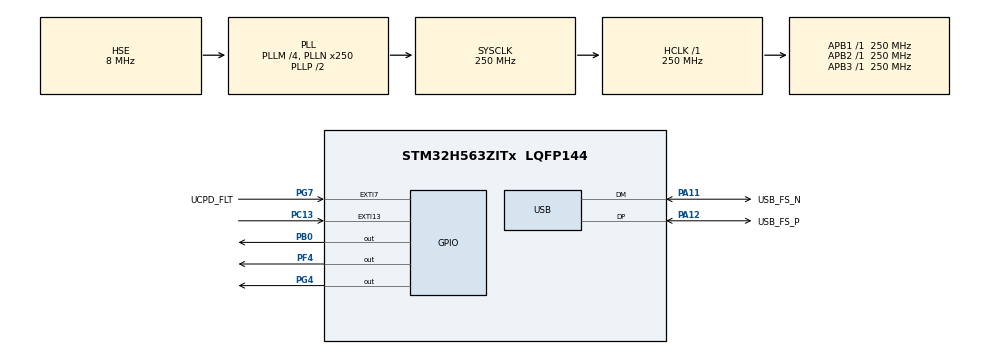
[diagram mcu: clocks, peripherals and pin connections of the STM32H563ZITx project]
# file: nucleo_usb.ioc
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BOOTPATH.BootPathName=LEGACY
BOOTPATH.UserSelectedBootPath=LEGACY
CORTEX_M33_NS.userName=CORTEX_M33
Mcu.Family=STM32H5
Mcu.Name=STM32H563ZITx
Mcu.Package=LQFP144
NUCLEO-H563ZI.BUTTON=1
NUCLEO-H563ZI.Bsp_Common_DEMO=true
NUCLEO-H563ZI.LD1=true
NUCLEO-H563ZI.LD2=true
NUCLEO-H563ZI.LD3=true
NUCLEO-H563ZI.VCP=true
NVIC.EXTI13_IRQn=true\:0\:0\:false\:false\:true\:false\:true\:true
NVIC.PriorityGroup=NVIC_PRIORITYGROUP_4
NVIC.USB_DRD_FS_IRQn=true\:0\:0\:false\:false\:true\:true\:true\:true
PA1.GPIO_Label=RMII_REF_CLK
PA1.GPIO_Mode=GPIO_MODE_AF_PP
PA1.GPIO_PuPd=GPIO_NOPULL
PA1.GPIO_Speed=GPIO_SPEED_FREQ_LOW
PA1.Signal=ETH_REF_CLK
PA11.GPIO_Label=USB_FS_N
PA11.Mode=Device
PA11.Signal=USB_DM
PA12.GPIO_Label=USB_FS_P
PA12.Mode=Device
PA12.Signal=USB_DP
PA13(JTMS/SWDIO).GPIO_Label=SWDIO
PA13(JTMS/SWDIO).Signal=DEBUG_JTMS-SWDIO
PA14(JTCK/SWCLK).GPIO_Label=SWCLK
PA14(JTCK/SWCLK).Signal=DEBUG_JTCK-SWCLK
PA15(JTDI).GPIO_Label=T_JTDI
PA15(JTDI).Signal=DEBUG_JTDI
PA2.GPIO_Label=RMII_MDIO
PA2.GPIO_Mode=GPIO_MODE_AF_PP
PA2.GPIO_PuPd=GPIO_NOPULL
PA2.GPIO_Speed=GPIO_SPEED_FREQ_LOW
PA2.Signal=ETH_MDIO
PA4.GPIO_Label=VBUS_SENSE
PA4.Signal=ADCx_INP18
PA7.GPIO_Label=RMII_CRS_DV
PA7.GPIO_Mode=GPIO_MODE_AF_PP
PA7.GPIO_PuPd=GPIO_NOPULL
PA7.GPIO_Speed=GPIO_SPEED_FREQ_LOW
PA7.Signal=ETH_CRS_DV
PA9.GPIO_Label=UCDP_DBn
PA9.Signal=UCPD1_DB1
PB0.Signal=GPIO_Output
PB13.GPIO_Label=UCPD_CC1
PB13.Signal=UCPD1_CC1
PB14.GPIO_Label=UCPD_CC2
PB14.Signal=UCPD1_CC2
PB15.GPIO_Label=RMII_TXD1
PB15.GPIO_Mode=GPIO_MODE_AF_PP
PB15.GPIO_PuPd=GPIO_NOPULL
PB15.GPIO_Speed=GPIO_SPEED_FREQ_LOW
PB15.Signal=ETH_TXD1
PB3(JTDO/TRACESWO).GPIO_Label=SWO
PB3(JTDO/TRACESWO).Signal=DEBUG_JTDO-SWO
PB6.GPIO_Label=ARD_D1_TX
PB6.Signal=LPUART1_TX
PB7.GPIO_Label=ARD_D0_RX
PB7.Signal=LPUART1_RX
PC1.GPIO_Label=RMII_MDC
PC1.GPIO_Mode=GPIO_MODE_AF_PP
PC1.GPIO_PuPd=GPIO_NOPULL
PC1.GPIO_Speed=GPIO_SPEED_FREQ_LOW
PC1.Signal=ETH_MDC
PC13.Signal=GPXTI13
PC14-OSC32_IN(OSC32_IN).Mode=LSE-External-Oscillator
PC14-OSC32_IN(OSC32_IN).Signal=RCC_OSC32_IN
PC15-OSC32_OUT(OSC32_OUT).Mode=LSE-External-Oscillator
PC15-OSC32_OUT(OSC32_OUT).Signal=RCC_OSC32_OUT
PC4.GPIO_Label=RMII_RXD0
PC4.GPIO_Mode=GPIO_MODE_AF_PP
PC4.GPIO_PuPd=GPIO_NOPULL
PC4.GPIO_Speed=GPIO_SPEED_FREQ_LOW
PC4.Signal=ETH_RXD0
PC5.GPIO_Label=RMII_RXD1
PC5.GPIO_Mode=GPIO_MODE_AF_PP
PC5.GPIO_PuPd=GPIO_NOPULL
PC5.GPIO_Speed=GPIO_SPEED_FREQ_LOW
PC5.Signal=ETH_RXD1
PD8.Signal=USART3_TX
PD9.Signal=USART3_RX
PE2.GPIO_Label=TRACE_CK
PE2.Signal=DEBUG_TRACECLK
PE3.GPIO_Label=TRACE_D0
PE3.Signal=DEBUG_TRACED0
PE4.GPIO_Label=TRACE_D1
PE4.Signal=DEBUG_TRACED1
PE5.GPIO_Label=TRACE_D2
PE5.Signal=DEBUG_TRACED2
PE6.GPIO_Label=TRACE_D3
PE6.Signal=DEBUG_TRACED3
PF4.Signal=GPIO_Output
PG11.GPIO_Label=RMII_TXT_EN
PG11.GPIO_Mode=GPIO_MODE_AF_PP
PG11.GPIO_PuPd=GPIO_NOPULL
PG11.GPIO_Speed=GPIO_SPEED_FREQ_LOW
PG11.Signal=ETH_TX_EN
PG13.GPIO_Label=RMI_TXD0
PG13.GPIO_Mode=GPIO_MODE_AF_PP
PG13.GPIO_PuPd=GPIO_NOPULL
PG13.GPIO_Speed=GPIO_SPEED_FREQ_LOW
PG13.Signal=ETH_TXD0
PG4.Signal=GPIO_Output
PG7.GPIO_Label=UCPD_FLT
PG7.Signal=GPXTI7
PH0-OSC_IN(PH0).GPIO_Label=STLK_MCO
PH0-OSC_IN(PH0).Mode=HSE-External-Clock-Source
PH0-OSC_IN(PH0).Signal=RCC_OSC_IN
ProjectManager.HeapSize=0x300
ProjectManager.StackSize=0x500
ProjectManager.TargetToolchain=STM32CubeIDE
RCC.ADCFreq_Value=250000000
RCC.AHBFreq_Value=250000000
RCC.APB1Freq_Value=250000000
RCC.APB1TimFreq_Value=250000000
RCC.APB2Freq_Value=250000000
RCC.APB2TimFreq_Value=250000000
RCC.APB3Freq_Value=250000000
RCC.CSI_VALUE=4000000
RCC.CortexFreq_Value=250000000
RCC.EPOD_VALUE=8000000
RCC.HCLKFreq_Value=250000000
RCC.HSE_VALUE=8000000
RCC.HSI48_VALUE=48000000
RCC.HSIDiv=RCC_HSI_DIV1
RCC.HSI_VALUE=64000000
RCC.LSIRC_VALUE=32000
RCC.PLLM=4
RCC.PLLN=250
RCC.PLLSourceVirtual=RCC_PLL1_SOURCE_HSE
RCC.SYSCLKFreq_VALUE=250000000
RCC.SYSCLKSource=RCC_SYSCLKSOURCE_PLLCLK
RCC.USBFreq_Value=48000000
RCC.VCOOutputFreq_Value=500000000
SH.ADCx_INP18.0=ADC1_INP18
USB.VirtualMode=Device_Only
VP_BOOTPATH_VS_BOOTPATH.Mode=BP_Activate
VP_CORTEX_M33_NS_VS_Hclk.Mode=Hclk_Mode
VP_ICACHE_VS_ICACHE.Mode=DefaultMode
VP_MEMORYMAP_VS_MEMORYMAP.Mode=CurAppReg
VP_NUCLEO-H563ZI_VS_BSP_COMMON.Mode=COMMON
VP_PWR_VS_DBSignals.Mode=DisableDeadBatterySignals
VP_PWR_VS_LPOM.Mode=PowerOptimisation
VP_PWR_VS_SECSignals.Mode=Security/Privilege
board=NUCLEO-H563ZI

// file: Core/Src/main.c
/* USER CODE BEGIN Header */
/**
  ******************************************************************************
  * @file           : main.c
  * @brief          : Main program body
  ******************************************************************************
  * @attention
  *
  * Copyright (c) 2024 STMicroelectronics.
  * All rights reserved.
  *
  * This software is licensed under terms that can be found in the LICENSE file
  * in the root directory of this software component.
  * If no LICENSE file comes with this software, it is provided AS-IS.
  *
  ******************************************************************************
  */
/* USER CODE END Header */
#include "main.h"
#include "icache.h"
#include "memorymap.h"
#include "usb.h"
#include "gpio.h"

/* USER CODE BEGIN Includes */
#include "usbd_core.h"
#include "usbd_cdc_if.h"
/* USER CODE END Includes */

COM_InitTypeDef BspCOMInit;
__IO uint32_t BspButtonState = BUTTON_RELEASED;

/* USER CODE BEGIN PV */
USBD_HandleTypeDef hUsbDeviceFS;
/* USER CODE END PV */

void SystemClock_Config(void);

int main(void)
{

  /* MCU Configuration--------------------------------------------------------*/

  /* Reset of all peripherals, Initializes the Flash interface and the Systick. */
  HAL_Init();

  /* USER CODE BEGIN Init */
  uint8_t txMessageBuffer[] = "++++++++++the quick brown fox jumps over the lazy dog++++++++++\n1234567890123456789012345678901234567890123456789012345678901234567890123456789012345678901234567890123456789012345678901234567890123456789012345678901234567890123456789012345678901234567890..........\n";
  /* USER CODE END Init */

  /* Configure the system clock */
  SystemClock_Config();

  /* Initialize all configured peripherals */
  MX_GPIO_Init();
  MX_USB_PCD_Init();
  MX_ICACHE_Init();
  /* USER CODE BEGIN 2 */
  while(hUsbDeviceFS.pClassData == NULL)
  {
	;
  }
  uint8_t startMessageBuffer[] = "NUCLEO USB Demo\n";
  USBD_CDC_Transmit(startMessageBuffer, sizeof(startMessageBuffer));
  /* USER CODE END 2 */

  /* Initialize leds */
  BSP_LED_Init(LED_GREEN);
  BSP_LED_Init(LED_YELLOW);
  BSP_LED_Init(LED_RED);

  /* Initialize USER push-button, will be used to trigger an interrupt each time it's pressed.*/
  BSP_PB_Init(BUTTON_USER, BUTTON_MODE_EXTI);

  /* Initialize COM1 port (115200, 8 bits (7-bit data + 1 stop bit), no parity */
  BspCOMInit.BaudRate   = 115200;
  BspCOMInit.WordLength = COM_WORDLENGTH_8B;
  BspCOMInit.StopBits   = COM_STOPBITS_1;
  BspCOMInit.Parity     = COM_PARITY_NONE;
  BspCOMInit.HwFlowCtl  = COM_HWCONTROL_NONE;
  if (BSP_COM_Init(COM1, &BspCOMInit) != BSP_ERROR_NONE)
  {
    Error_Handler();
  }

  /* USER CODE BEGIN BSP */
  /* -- Sample board code to send message over COM1 port ---- */
  printf("Welcome to STM32 world !\n\r");
  /* -- Sample board code to switch on leds ---- */
  BSP_LED_On(LED_GREEN);
  BSP_LED_On(LED_YELLOW);
  BSP_LED_On(LED_RED);
  /* USER CODE END BSP */

  /* Infinite loop */
  /* USER CODE BEGIN WHILE */
  while (1)
  {
	USBD_CDC_Transmit(txMessageBuffer, sizeof(txMessageBuffer));
    for (uint16_t i = 0u; i < 500; ++i)
    {
      /* -- Sample board code for User push-button in interrupt mode ---- */
      if (BspButtonState == BUTTON_PRESSED)
      {
        /* Update button state */
        BspButtonState = BUTTON_RELEASED;
        /* -- Sample board code to toggle leds ---- */
        BSP_LED_Toggle(LED_YELLOW);
        BSP_LED_Toggle(LED_RED);
        /* ..... Perform your action ..... */
      }
      HAL_Delay(1);
    }
    BSP_LED_Toggle(LED_GREEN);
    /* USER CODE END WHILE */

  }
}

void SystemClock_Config(void)
{
  RCC_OscInitTypeDef RCC_OscInitStruct = {0};
  RCC_ClkInitTypeDef RCC_ClkInitStruct = {0};

  /** Configure the main internal regulator output voltage
  */
  __HAL_PWR_VOLTAGESCALING_CONFIG(PWR_REGULATOR_VOLTAGE_SCALE0);

  while(!__HAL_PWR_GET_FLAG(PWR_FLAG_VOSRDY)) {}

  /** Initializes the RCC Oscillators according to the specified parameters
  * in the RCC_OscInitTypeDef structure.
  */
  RCC_OscInitStruct.OscillatorType = RCC_OSCILLATORTYPE_HSI48|RCC_OSCILLATORTYPE_HSE;
  RCC_OscInitStruct.HSEState = RCC_HSE_BYPASS;
  RCC_OscInitStruct.HSI48State = RCC_HSI48_ON;
  RCC_OscInitStruct.PLL.PLLState = RCC_PLL_ON;
  RCC_OscInitStruct.PLL.PLLSource = RCC_PLL1_SOURCE_HSE;
  RCC_OscInitStruct.PLL.PLLM = 4;
  RCC_OscInitStruct.PLL.PLLN = 250;
  RCC_OscInitStruct.PLL.PLLP = 2;
  RCC_OscInitStruct.PLL.PLLQ = 2;
  RCC_OscInitStruct.PLL.PLLR = 2;
  RCC_OscInitStruct.PLL.PLLRGE = RCC_PLL1_VCIRANGE_1;
  RCC_OscInitStruct.PLL.PLLVCOSEL = RCC_PLL1_VCORANGE_WIDE;
  RCC_OscInitStruct.PLL.PLLFRACN = 0;
  if (HAL_RCC_OscConfig(&RCC_OscInitStruct) != HAL_OK)
  {
    Error_Handler();
  }

  /** Initializes the CPU, AHB and APB buses clocks
  */
  RCC_ClkInitStruct.ClockType = RCC_CLOCKTYPE_HCLK|RCC_CLOCKTYPE_SYSCLK
                              |RCC_CLOCKTYPE_PCLK1|RCC_CLOCKTYPE_PCLK2
                              |RCC_CLOCKTYPE_PCLK3;
  RCC_ClkInitStruct.SYSCLKSource = RCC_SYSCLKSOURCE_PLLCLK;
  RCC_ClkInitStruct.AHBCLKDivider = RCC_SYSCLK_DIV1;
  RCC_ClkInitStruct.APB1CLKDivider = RCC_HCLK_DIV1;
  RCC_ClkInitStruct.APB2CLKDivider = RCC_HCLK_DIV1;
  RCC_ClkInitStruct.APB3CLKDivider = RCC_HCLK_DIV1;

  if (HAL_RCC_ClockConfig(&RCC_ClkInitStruct, FLASH_LATENCY_5) != HAL_OK)
  {
    Error_Handler();
  }

  /** Configure the programming delay
  */
  __HAL_FLASH_SET_PROGRAM_DELAY(FLASH_PROGRAMMING_DELAY_2);
}

/**
  * @brief  BSP Push Button callback
  * @param  Button Specifies the pressed button
  * @retval None
  */
void BSP_PB_Callback(Button_TypeDef Button)
{
  if (Button == BUTTON_USER)
  {
    BspButtonState = BUTTON_PRESSED;
  }
}

void Error_Handler(void)
{
  __disable_irq();
  while (1)
  {
  }
}
